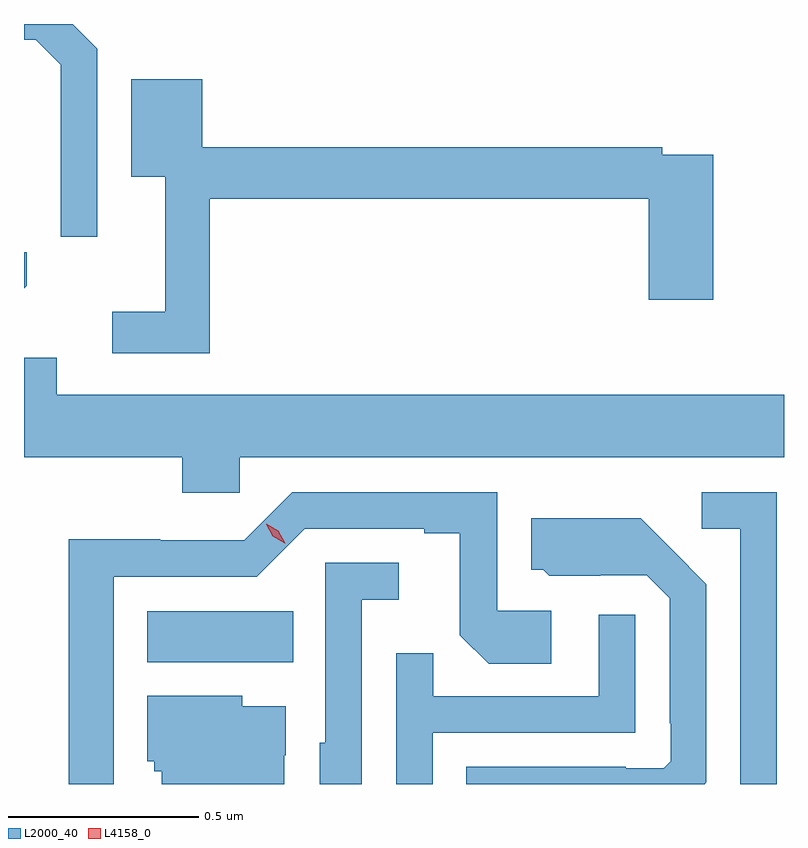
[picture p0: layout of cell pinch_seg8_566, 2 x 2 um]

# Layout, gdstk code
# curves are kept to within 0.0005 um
import gdstk
lib = gdstk.Library(unit=1e-6, precision=1e-09)
def R(c, l, rs):  # rectangles x0, y0, x1, y1
    for r in rs: c.add(gdstk.rectangle(r[:2], r[2:], *l))
def P(c, l, *ps):  # polygons
    for p in ps: c.add(gdstk.Polygon(p, *l))
L2000_40 = (2000, 40)
L4158_0 = (4158, 0)

pinch_seg8_566 = lib.new_cell('pinch_seg8_566')
R(pinch_seg8_566, L2000_40, [(142.256,1122.62,142.64,1122.754)])
P(pinch_seg8_566, L2000_40, [(142.125,1124.235),(142.06,1124.3),(141.932,1124.3),(141.932,1124.259),(141.963,1124.259),(142.029,1124.193),(142.029,1123.74),(142.125,1123.74)],
  [(142.421,1123.84),(143.576,1123.84),(143.576,1123.575),(143.746,1123.575),(143.746,1123.956),(143.612,1123.956),(143.612,1123.976),(142.401,1123.976),(142.401,1124.155),(142.214,1124.155),(142.214,1123.898),(142.304,1123.898),(142.304,1123.543),(142.164,1123.543),(142.164,1123.434),(142.421,1123.434)],
  [(141.939,1123.611),(141.939,1123.699),(141.932,1123.699),(141.932,1123.604)],
  [(142.5,1123.16),(143.932,1123.16),(143.932,1123.324),(142.018,1123.324),(142.018,1123.422),(141.932,1123.422),(141.932,1123.16),(142.349,1123.16),(142.349,1123.067),(142.5,1123.067)],
  [(142.168,1122.846),(142.545,1122.846),(142.671,1122.972),(142.985,1122.972),(142.985,1122.96),(143.079,1122.96),(143.079,1122.692),(143.155,1122.616),(143.32,1122.616),(143.32,1122.756),(143.178,1122.756),(143.178,1123.068),(142.638,1123.068),(142.512,1122.942),(142.29,1122.942),(142.29,1122.944),(142.05,1122.944),(142.05,1122.3),(142.168,1122.3)],
  [(143.913,1123.068),(143.715,1123.068),(143.715,1122.972),(143.817,1122.972),(143.817,1122.3),(143.913,1122.3)],
  [(143.727,1122.304),(143.727,1122.826),(143.555,1123),(143.267,1123),(143.267,1122.864),(143.298,1122.864),(143.314,1122.848),(143.448,1122.848),(143.448,1122.849),(143.571,1122.849),(143.631,1122.789),(143.631,1122.46),(143.634,1122.46),(143.634,1122.36),(143.616,1122.342),(143.516,1122.342),(143.516,1122.346),(143.096,1122.346),(143.096,1122.3),(143.723,1122.3)],
  [(142.821,1122.785),(142.918,1122.785),(142.918,1122.882),(142.725,1122.882),(142.725,1122.408),(142.71,1122.408),(142.71,1122.3),(142.821,1122.3)],
  [(143.007,1122.435),(143.541,1122.435),(143.541,1122.745),(143.445,1122.745),(143.445,1122.531),(143.009,1122.531),(143.009,1122.644),(142.911,1122.644),(142.911,1122.3),(143.007,1122.3)],
  [(142.617,1122.376),(142.621,1122.376),(142.621,1122.505),(142.506,1122.505),(142.506,1122.532),(142.256,1122.532),(142.256,1122.36),(142.275,1122.36),(142.275,1122.333),(142.295,1122.333),(142.295,1122.3),(142.617,1122.3)])
P(pinch_seg8_566, L4158_0, [(142.618,1122.933),(142.587,1122.952),(142.569,1122.984),(142.569,1122.985),(142.57,1122.985),(142.601,1122.966),(142.619,1122.933),(142.619,1122.933)])

lib.write_gds('pinch_seg8_566.gds')
